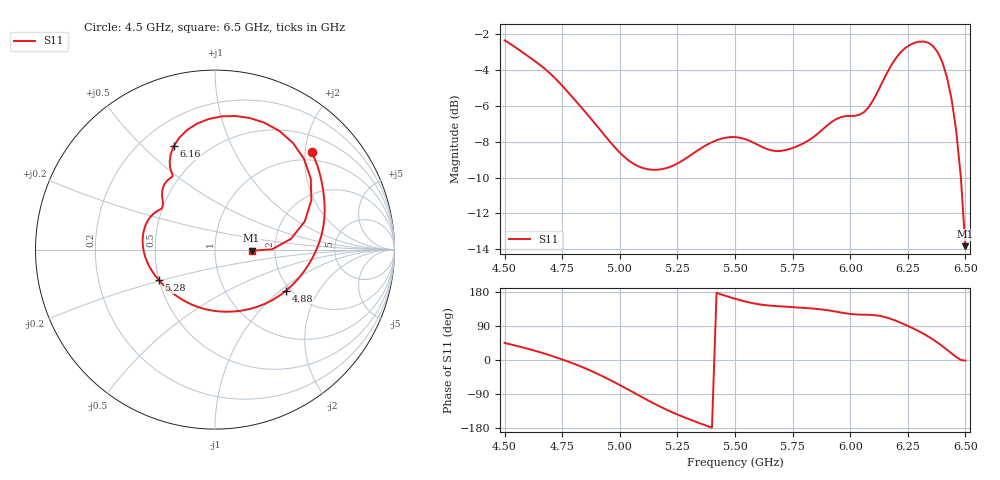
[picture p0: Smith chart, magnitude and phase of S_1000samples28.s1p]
! TOUCHSTONE file generated by CST MICROWAVE STUDIO
! Date and time: Wed Oct 26 18:01:21 2022
! Project name: L.cst
! Parameters = {Di=1.27; Epsilon_r=1.56; InnerDiameter=1.27; Length=2; Lf=10; Lg=60; OuterConductorThickness=0.2921; OuterDiameter=3.6; Wf=3; Wp=41.2; de=1.5; df=6.8; g=0.8; gx=1.82336; gy=0.651409; h=2.34; hf=1.524; px=11.7261; py=11.4366; w=9.7; wx=9.90279; wy=10.7852}
! Header version: 2018
! Port assignment regex: !\s*Touchstone port\s*([0-9]+)\s*=\s*(CST MWS port|CST DS port)\s*([0-9]+|Zmin|Zmax)\s*\(\"(.*)\"\)(\s*mode\s*([0-9]+))?.*
! Touchstone port assignment:
! Touchstone port 1 = CST MWS port 1 ("")
# GHz S DB R 50
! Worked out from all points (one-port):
!   101 points, 4.5 GHz to 6.5 GHz, reference 50 ohm
!   lowest |S11| = -13.8 dB at 6.5 GHz (marker M1), VSWR 1.51, Z = 75.5 - j1 ohm
!   |S11| at or under -10 dB: 6.480321 GHz to end of sweep
!   S11 on the Smith chart (normalised r, x): 4.5 GHz: 0.82, +2.14; 4.88 GHz: 1.90, -1.10; 5.28 GHz: 0.50, -0.20; 6.16 GHz: 0.33, +0.62; 6.5 GHz: 1.51, -0.02
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4.5  -2.34 45.1
4.64  -3.57 23.0
4.76  -5.01 -0.8
4.88  -6.79 -29.9
4.94  -7.73 -47.3
5  -8.60 -66.1
5.12  -9.53 -105.8
5.26  -9.14 -146.3
5.28  -8.98 -151.2
5.4  -8.02 -178.6
5.5  -7.73 161.7
5.6  -8.17 147.4
5.76  -8.30 139.1
5.9  -7.09 131.6
6  -6.55 121.6
6.08  -6.07 119.3
6.16  -4.14 111.7
6.2  -3.30 103.1
6.26  -2.58 87.2
6.3  -2.40 75.3
6.34  -2.47 61.6
6.36  -2.66 53.9
6.4  -3.55 36.6
6.42  -4.39 27.1
6.44  -5.61 17.5
6.46  -7.37 8.1
6.48  -9.94 0.3
6.5  -13.83 -1.8
